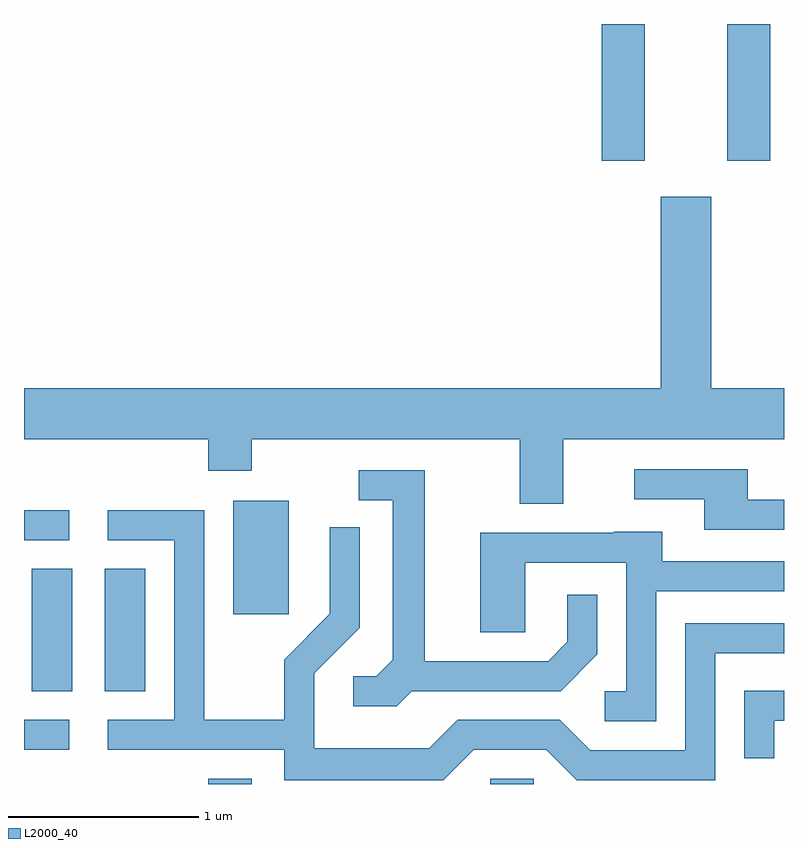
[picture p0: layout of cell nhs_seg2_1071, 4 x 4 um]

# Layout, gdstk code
import gdstk
lib = gdstk.Library(unit=1e-6, precision=1e-09)
def R(c, l, rs):  # rectangles x0, y0, x1, y1
    for r in rs: c.add(gdstk.rectangle(r[:2], r[2:], *l))
def P(c, l, *ps):  # polygons
    for p in ps: c.add(gdstk.Polygon(p, *l))
L2000_40 = (2000, 40)

nhs_seg2_1071 = lib.new_cell('nhs_seg2_1071')
R(nhs_seg2_1071, L2000_40, [(216.581,1079.802,216.809,1079.829), (218.066,1079.802,218.294,1079.829), (215.611,1079.981,215.848,1080.139), (215.651,1080.291,215.864,1080.934), (216.036,1080.291,216.249,1080.934), (216.711,1080.696,217.004,1081.294), (215.611,1081.086,215.848,1081.244), (218.651,1083.081,218.879,1083.802), (219.311,1083.081,219.539,1083.802)])
P(nhs_seg2_1071, L2000_40, [(218.449,1081.616),(219.611,1081.616),(219.611,1081.884),(219.229,1081.884),(219.229,1082.894),(218.961,1082.894),(218.961,1081.884),(215.611,1081.884),(215.611,1081.616),(216.581,1081.616),(216.581,1081.451),(216.809,1081.451),(216.809,1081.616),(218.221,1081.616),(218.221,1081.276),(218.449,1081.276)],
  [(219.611,1081.299),(219.419,1081.299),(219.419,1081.459),(218.823,1081.459),(218.823,1081.301),(219.191,1081.301),(219.191,1081.141),(219.611,1081.141)],
  [(217.652,1080.291),(218.437,1080.291),(218.629,1080.484),(218.629,1080.798),(218.471,1080.798),(218.471,1080.552),(218.369,1080.449),(217.719,1080.449),(217.719,1081.454),(217.373,1081.454),(217.373,1081.296),(217.551,1081.296),(217.551,1080.457),(217.464,1080.369),(217.343,1080.369),(217.343,1080.211),(217.572,1080.211)],
  [(217.977,1079.981),(218.359,1079.981),(218.519,1079.821),(219.249,1079.821),(219.249,1080.491),(219.611,1080.491),(219.611,1080.649),(219.091,1080.649),(219.091,1079.979),(218.592,1079.979),(218.432,1080.139),(217.894,1080.139),(217.744,1079.989),(217.139,1079.989),(217.139,1080.384),(217.379,1080.624),(217.379,1081.153),(217.221,1081.153),(217.221,1080.697),(216.981,1080.457),(216.981,1080.139),(216.559,1080.139),(216.559,1081.244),(216.053,1081.244),(216.053,1081.086),(216.401,1081.086),(216.401,1080.139),(216.053,1080.139),(216.053,1079.981),(216.981,1079.981),(216.981,1079.821),(217.817,1079.821)],
  [(218.939,1080.816),(219.611,1080.816),(219.611,1080.974),(218.969,1080.974),(218.969,1081.129),(218.715,1081.129),(218.715,1081.124),(218.011,1081.124),(218.011,1080.601),(218.249,1080.601),(218.249,1080.966),(218.781,1080.966),(218.781,1080.289),(218.668,1080.289),(218.668,1080.131),(218.939,1080.131)],
  [(219.559,1080.136),(219.611,1080.136),(219.611,1080.294),(219.401,1080.294),(219.401,1079.938),(219.559,1079.938)])

lib.write_gds('nhs_seg2_1071.gds')
